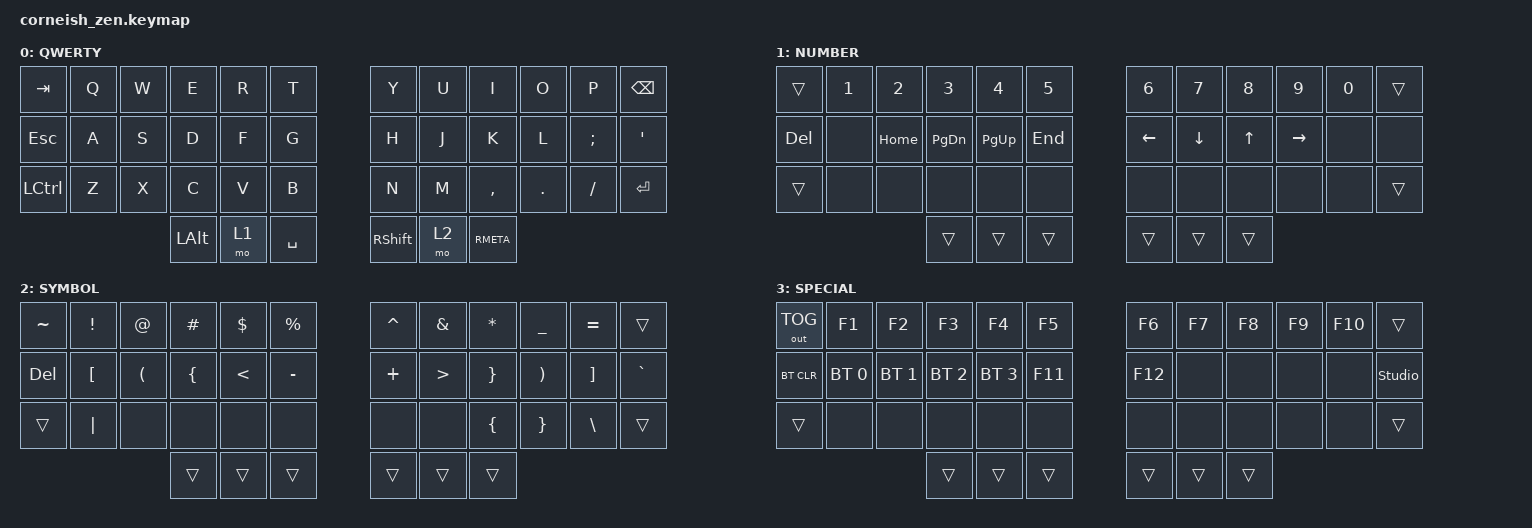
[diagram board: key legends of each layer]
#include <behaviors.dtsi>
#include <dt-bindings/zmk/keys.h>
#include <dt-bindings/zmk/bt.h>
#include <dt-bindings/zmk/outputs.h>

/ {
    chosen {
        zmk,physical-layout = &foostan_corne_6col_layout;
        // zmk,physical-layout = &foostan_corne_5col_layout;
    };
};

/ {
    keymap {
        compatible = "zmk,keymap";

        default_layer {
            display-name = "QWERTY";
// -----------------------------------------------------------------------------------------
// |  TAB |  Q  |  W  |  E  |  R  |  T  |   |  Y  |  U   |  I  |  O  |  P  | BKSP |
// |  ESC |  A  |  S  |  D  |  F  |  G  |   |  H  |  J   |  K  |  L  |  ;  |  '   |
// | CTRL |  Z  |  X  |  C  |  V  |  B  |   |  N  |  M   |  ,  |  .  |  /  | ENT  |
//                    | ALT | LWR | SPC |   | SHFT| RSE  | META|
            bindings = <
&kp TAB   &kp Q &kp W &kp E &kp R &kp T   &kp Y &kp U  &kp I     &kp O   &kp P    &kp BSPC
&kp ESC   &kp A &kp S &kp D &kp F &kp G   &kp H &kp J  &kp K     &kp L   &kp SEMI &kp SQT
&kp LCTRL &kp Z &kp X &kp C &kp V &kp B   &kp N &kp M  &kp COMMA &kp DOT &kp FSLH &kp RET
               &kp LALT &mo 1 &kp SPACE   &kp RSHFT &mo 2 &kp RMETA
            >;
        };

        lower_layer {
            display-name = "NUMBER";
// -----------------------------------------------------------------------------------------
// |     |  1  |  2  |  3  |  4  |  5  |   |  6  |  7  |  8  |  9  |  0  |     |
// | DEL |     | HOME| PgDn| PgUp| END |   | LFT | DWN |  UP | RGT |     |     |
// |     |     |     |     |     |     |   |     |     |     |     |     |     |
//                   |     |     |     |   |     | L3  |     |
            bindings = <
&trans  &kp N1 &kp N2   &kp N3    &kp N4    &kp N5    &kp N6   &kp N7   &kp N8 &kp N9    &kp N0 &trans
&kp DEL &none  &kp HOME &kp PG_DN &kp PG_UP &kp END   &kp LEFT &kp DOWN &kp UP &kp RIGHT &none  &none
&trans  &none  &none    &none     &none     &none     &none    &none    &none  &none     &none  &trans
                              &trans &trans &trans    &trans &trans &trans
            >;
        };

        raise_layer {
            display-name = "SYMBOL";
// -----------------------------------------------------------------------------------------
// |   ~  |  !  |  @  |  #  |  $  |  %  |   |  ^  |  &  |  *  |  _  |  =  |     |
// |  DEL |  [  |  (  |  {  |  <  |  -  |   |  +  |  >  |  }  |  )  |  ]  |  `  |
// |      |  |  |     |     |     |     |   |     |     |  <  |  >  |  \  |     |
//                    |     |  L3 |     |   |     |     |     |
            bindings = <
&kp TILDE &kp EXCL &kp AT   &kp HASH &kp DLLR &kp PRCNT   &kp CARET &kp AMPS &kp STAR &kp UNDER &kp EQUAL &trans
&kp DEL   &kp LBKT &kp LPAR &kp LBRC &kp LT   &kp MINUS   &kp PLUS  &kp GT   &kp RBRC &kp RPAR  &kp RBKT  &kp GRAVE
&trans    &kp PIPE &none    &none    &none    &none       &none     &none    &kp LBRC &kp RBRC  &kp BSLH  &trans
                                   &trans &trans &trans   &trans &trans &trans
            >;
        };

        spec_layer {
            display-name = "SPECIAL";
// -----------------------------------------------------------------------------------------
// | USB  |  F1 |  F2 |  F3 |  F4 |  F5 |   | F6  | F7  | F8  | F9  | F10 |     |
// | BTCLR| BT1 | BT2 | BT3 | BT4 | F11 |   | F12 |     |     |     |     | UNLC|
// |      |     |     |     |     |     |   |     |     |     |     |     |     |
//                    |     |     |     |   |     |     |     |
            bindings = <
&out OUT_TOG &kp F1       &kp F2       &kp F3       &kp F4       &kp F5    &kp F6  &kp F7 &kp F8 &kp F9 &kp F10 &trans
&bt BT_CLR   &bt BT_SEL 0 &bt BT_SEL 1 &bt BT_SEL 2 &bt BT_SEL 3 &kp F11   &kp F12 &none  &none  &none  &none   &studio_unlock
&trans       &none        &none        &none        &none        &none     &none   &none  &none  &none  &none   &trans
                                                   &trans &trans &trans    &trans &trans &trans
            >;
        };
    };
};

/{
    conditional_layers {
        compatible = "zmk,conditional-layers";
        tri_layer {
            if-layers = <1 2>;
            then-layer = <3>;
        };
    };
};
